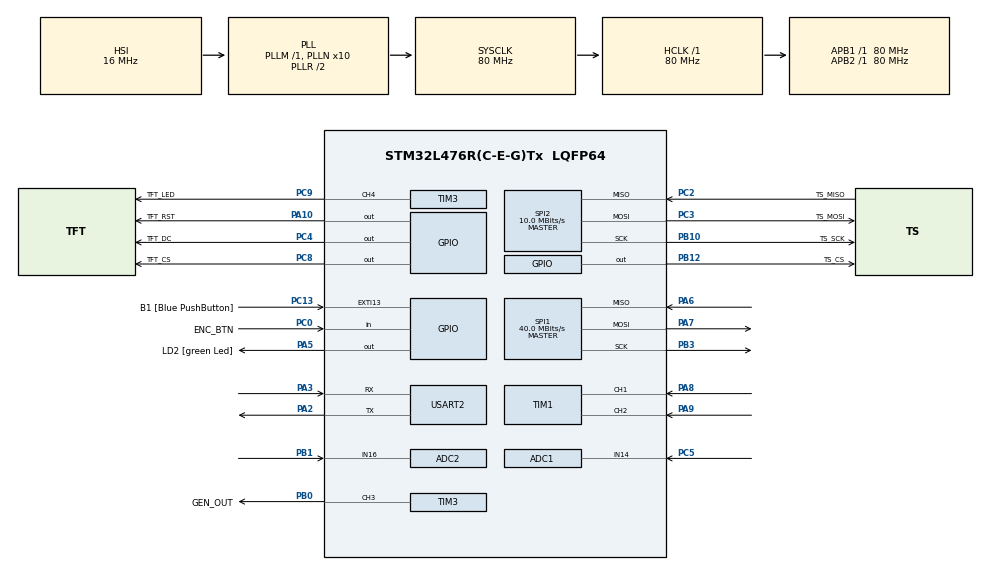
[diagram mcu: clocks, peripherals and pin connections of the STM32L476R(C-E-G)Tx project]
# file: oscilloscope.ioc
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ADC1.Channel-3\#ChannelRegularConversion=ADC_CHANNEL_14
ADC1.ClockPrescaler=ADC_CLOCK_ASYNC_DIV4
ADC1.ContinuousConvMode=ENABLE
ADC1.DMAContinuousRequests=ENABLE
ADC1.NbrOfConversion=1
ADC1.NbrOfConversionFlag=1
ADC1.OffsetNumber-3\#ChannelRegularConversion=ADC_OFFSET_NONE
ADC1.Rank-3\#ChannelRegularConversion=1
ADC1.SamplingTime-3\#ChannelRegularConversion=ADC_SAMPLETIME_6CYCLES_5
ADC1.master=1
ADC2.Channel-0\#ChannelRegularConversion=ADC_CHANNEL_16
ADC2.ClockPrescaler=ADC_CLOCK_ASYNC_DIV4
ADC2.ContinuousConvMode=ENABLE
ADC2.DMAContinuousRequests=ENABLE
ADC2.NbrOfConversionFlag=1
ADC2.OffsetNumber-0\#ChannelRegularConversion=ADC_OFFSET_NONE
ADC2.Rank-0\#ChannelRegularConversion=1
ADC2.SamplingTime-0\#ChannelRegularConversion=ADC_SAMPLETIME_6CYCLES_5
COMP1.Hysteresis=COMP_HYSTERESIS_LOW
COMP1.TriggerMode=COMP_TRIGGERMODE_IT_RISING
Dma.ADC1.1.Direction=DMA_PERIPH_TO_MEMORY
Dma.ADC1.1.Instance=DMA1_Channel1
Dma.ADC1.1.MemDataAlignment=DMA_MDATAALIGN_HALFWORD
Dma.ADC1.1.MemInc=DMA_MINC_ENABLE
Dma.ADC1.1.Mode=DMA_NORMAL
Dma.ADC1.1.PeriphDataAlignment=DMA_PDATAALIGN_HALFWORD
Dma.ADC1.1.PeriphInc=DMA_PINC_DISABLE
Dma.ADC1.1.Priority=DMA_PRIORITY_LOW
Dma.ADC2.2.Direction=DMA_PERIPH_TO_MEMORY
Dma.ADC2.2.Instance=DMA1_Channel2
Dma.ADC2.2.MemDataAlignment=DMA_MDATAALIGN_HALFWORD
Dma.ADC2.2.MemInc=DMA_MINC_ENABLE
Dma.ADC2.2.Mode=DMA_NORMAL
Dma.ADC2.2.PeriphDataAlignment=DMA_PDATAALIGN_HALFWORD
Dma.ADC2.2.PeriphInc=DMA_PINC_DISABLE
Dma.ADC2.2.Priority=DMA_PRIORITY_LOW
Dma.Request0=SPI1_TX
Dma.Request1=ADC1
Dma.Request2=ADC2
Dma.SPI1_TX.0.Direction=DMA_MEMORY_TO_PERIPH
Dma.SPI1_TX.0.Instance=DMA1_Channel3
Dma.SPI1_TX.0.MemDataAlignment=DMA_MDATAALIGN_BYTE
Dma.SPI1_TX.0.MemInc=DMA_MINC_ENABLE
Dma.SPI1_TX.0.Mode=DMA_NORMAL
Dma.SPI1_TX.0.PeriphDataAlignment=DMA_PDATAALIGN_BYTE
Dma.SPI1_TX.0.PeriphInc=DMA_PINC_DISABLE
Dma.SPI1_TX.0.Priority=DMA_PRIORITY_LOW
Mcu.Family=STM32L4
Mcu.Name=STM32L476R(C-E-G)Tx
Mcu.Package=LQFP64
NVIC.COMP_IRQn=true\:0\:0\:false\:false\:true\:false\:true
NVIC.DMA1_Channel1_IRQn=true\:0\:0\:false\:false\:true\:false\:true
NVIC.DMA1_Channel2_IRQn=true\:0\:0\:false\:false\:true\:false\:true
NVIC.DMA1_Channel3_IRQn=true\:0\:0\:false\:false\:true\:false\:true
NVIC.PriorityGroup=NVIC_PRIORITYGROUP_4
NVIC.SPI1_IRQn=true\:0\:0\:false\:false\:true\:true\:true
NVIC.TIM4_IRQn=true\:0\:0\:false\:false\:true\:true\:true
PA10.GPIO_Label=TFT_RST
PA10.GPIO_Speed=GPIO_SPEED_FREQ_VERY_HIGH
PA10.Signal=GPIO_Output
PA2.Mode=Asynchronous
PA2.Signal=USART2_TX
PA3.Mode=Asynchronous
PA3.Signal=USART2_RX
PA5.GPIO_Label=LD2 [green Led]
PA5.GPIO_ModeDefaultOutputPP=GPIO_MODE_OUTPUT_PP
PA5.GPIO_PuPd=GPIO_NOPULL
PA5.GPIO_Speed=GPIO_SPEED_FREQ_LOW
PA5.Signal=GPIO_Output
PA6.Mode=Full_Duplex_Master
PA6.Signal=SPI1_MISO
PA7.Mode=Full_Duplex_Master
PA7.Signal=SPI1_MOSI
PA8.GPIO_PuPd=GPIO_PULLUP
PA8.Signal=S_TIM1_CH1
PA9.GPIO_PuPd=GPIO_PULLUP
PA9.Signal=S_TIM1_CH2
PB0.GPIO_Label=GEN_OUT
PB0.Signal=S_TIM3_CH3
PB1.Signal=ADCx_IN16
PB10.GPIO_Label=TS_SCK
PB10.Mode=Full_Duplex_Master
PB10.Signal=SPI2_SCK
PB12.GPIO_Label=TS_CS
PB12.GPIO_Speed=GPIO_SPEED_FREQ_VERY_HIGH
PB12.Signal=GPIO_Output
PB3\ (JTDO-TRACESWO).Mode=Full_Duplex_Master
PB3\ (JTDO-TRACESWO).Signal=SPI1_SCK
PC0.GPIO_Label=ENC_BTN
PC0.GPIO_PuPd=GPIO_PULLUP
PC0.Signal=GPIO_Input
PC13.GPIO_Label=B1 [Blue PushButton]
PC13.GPIO_ModeDefaultEXTI=GPIO_MODE_IT_FALLING
PC13.GPIO_PuPd=GPIO_NOPULL
PC13.Signal=GPXTI13
PC2.GPIO_Label=TS_MISO
PC2.Mode=Full_Duplex_Master
PC2.Signal=SPI2_MISO
PC3.GPIO_Label=TS_MOSI
PC3.Mode=Full_Duplex_Master
PC3.Signal=SPI2_MOSI
PC4.GPIO_Label=TFT_DC
PC4.GPIO_Speed=GPIO_SPEED_FREQ_VERY_HIGH
PC4.Signal=GPIO_Output
PC5.Signal=SharedAnalog_PC5
PC8.GPIO_Label=TFT_CS
PC8.GPIO_Speed=GPIO_SPEED_FREQ_VERY_HIGH
PC8.Signal=GPIO_Output
PC9.GPIO_Label=TFT_LED
PC9.Signal=S_TIM3_CH4
ProjectManager.HeapSize=0x200
ProjectManager.StackSize=0x400
ProjectManager.TargetToolchain=STM32CubeIDE
RCC.ADCCLockSelection=RCC_ADCCLKSOURCE_SYSCLK
RCC.ADCFreq_Value=80000000
RCC.AHBFreq_Value=80000000
RCC.APB1Freq_Value=80000000
RCC.APB1TimFreq_Value=80000000
RCC.APB2Freq_Value=80000000
RCC.APB2TimFreq_Value=80000000
RCC.CortexFreq_Value=80000000
RCC.HCLKFreq_Value=80000000
RCC.HSE_VALUE=8000000
RCC.HSI_VALUE=16000000
RCC.LSE_VALUE=32768
RCC.MSI_VALUE=4000000
RCC.PLLN=10
RCC.PLLSourceVirtual=RCC_PLLSOURCE_HSI
RCC.PREFETCH_ENABLE=1
RCC.SYSCLKFreq_VALUE=80000000
RCC.SYSCLKSource=RCC_SYSCLKSOURCE_PLLCLK
RCC.USBFreq_Value=64000000
RCC.VCOOutputFreq_Value=160000000
SH.ADCx_IN16.0=ADC2_IN16,IN16-Single-Ended
SH.S_TIM1_CH1.0=TIM1_CH1,Encoder_Interface
SH.S_TIM1_CH2.0=TIM1_CH2,Encoder_Interface
SH.S_TIM3_CH3.0=TIM3_CH3,PWM Generation3 CH3
SH.S_TIM3_CH4.0=TIM3_CH4,PWM Generation4 CH4
SH.SharedAnalog_PC5.0=ADC1_IN14,IN14-Single-Ended
SH.SharedAnalog_PC5.1=COMP1_INP,INP
SPI1.BaudRatePrescaler=SPI_BAUDRATEPRESCALER_2
SPI1.CalculateBaudRate=40.0 MBits/s
SPI1.DataSize=SPI_DATASIZE_8BIT
SPI1.Direction=SPI_DIRECTION_2LINES
SPI1.Mode=SPI_MODE_MASTER
SPI1.VirtualType=VM_MASTER
SPI2.BaudRatePrescaler=SPI_BAUDRATEPRESCALER_8
SPI2.CalculateBaudRate=10.0 MBits/s
SPI2.DataSize=SPI_DATASIZE_8BIT
SPI2.Direction=SPI_DIRECTION_2LINES
SPI2.Mode=SPI_MODE_MASTER
SPI2.VirtualType=VM_MASTER
TIM1.EncoderMode=TIM_ENCODERMODE_TI1
TIM3.AutoReloadPreload=TIM_AUTORELOAD_PRELOAD_ENABLE
TIM3.Channel-PWM\ Generation3\ CH3=TIM_CHANNEL_3
TIM3.Channel-PWM\ Generation4\ CH4=TIM_CHANNEL_4
TIM3.Period=999
TIM3.Prescaler=79
TIM4.Channel-Output\ Compare1\ No\ Output=TIM_CHANNEL_1
TIM4.Period=9999
TIM4.Prescaler=7999
TIM4.TIM_MasterOutputTrigger=TIM_TRGO_UPDATE
USART2.VirtualMode-Asynchronous=VM_ASYNC
VP_COMP1_VS_DACOUT1.Mode=INM_DACOUT1
VP_DAC1_VS_DACI1.Mode=DAC_OUT1_Int
VP_TIM4_VS_no_output1.Mode=Output Compare1 No Output
board=NUCLEO-L476RG

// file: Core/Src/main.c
/* USER CODE BEGIN Header */
/**
  ******************************************************************************
  * @file           : main.c
  * @brief          : Main program body
  ******************************************************************************
  * @attention
  *
  * <h2><center>&copy; Copyright (c) 2024 STMicroelectronics.
  * All rights reserved.</center></h2>
  *
  * This software component is licensed by ST under BSD 3-Clause license,
  * the "License"; You may not use this file except in compliance with the
  * License. You may obtain a copy of the License at:
  *                        opensource.org/licenses/BSD-3-Clause
  *
  ******************************************************************************
  */
/* USER CODE END Header */
#include "main.h"
#include "adc.h"
#include "comp.h"
#include "dac.h"
#include "dma.h"
#include "spi.h"
#include "tim.h"
#include "usart.h"
#include "gpio.h"

/* USER CODE BEGIN Includes */
#include <stdio.h>
#include "oscilloscope.h"

/* USER CODE END Includes */

/* USER CODE BEGIN PD */
#define DAC_VREF 3.3
#define DAC_RESOLUTION 4096

/* USER CODE END PD */

/* USER CODE BEGIN PV */
volatile uint8_t SPI1_TX_completed_flag = 1;
static int conv_done = 0;
int ready_to_draw = 0;
volatile int done_drawing = 1;
volatile uint8_t comparatorTriggeredFlag;
Oscilloscope oscilloscope;

/* USER CODE END PV */

void SystemClock_Config(void);

/* USER CODE BEGIN 0 */
void HAL_SPI_TxCpltCallback(SPI_HandleTypeDef *hspi){
	SPI1_TX_completed_flag = 1;
}

void HAL_COMP_TriggerCallback(COMP_HandleTypeDef *hcomp){
	comparatorTriggeredFlag = 1;
	if(conv_done & done_drawing){
		conv_done = 0;
		HAL_ADC_Start_DMA(&hadc1, (uint32_t*) oscilloscope.ch1.waveform_raw_adc , MEMORY_DEPTH);
		HAL_ADC_Start_DMA(&hadc2, (uint32_t*) oscilloscope.ch2.waveform_raw_adc , MEMORY_DEPTH);
		ready_to_draw = 1;
		done_drawing = 0;
	}
	//HAL_COMP_Stop(&hcomp1);
}

/**
 * @brief function for printing using UART
 */
int _write(int file, char* ptr, int len){
	HAL_UART_Transmit(&huart2, (uint8_t *)ptr, len, HAL_MAX_DELAY);
	return len;
}

/**
 * @brief convert voltage to DAC value
 */
int conv_voltage_to_DAC(float voltage){
	int dac = voltage*DAC_RESOLUTION/DAC_VREF;
	if(dac > DAC_RESOLUTION){
		dac = DAC_RESOLUTION;
	}
	return (int) dac;
}

void HAL_TIM_PeriodElapsedCallback(TIM_HandleTypeDef *htim){
	if(htim == &htim4){
		if(!comparatorTriggeredFlag && !oscilloscope.stop){
			HAL_ADC_Start_DMA(&hadc1, (uint32_t*) oscilloscope.ch1.waveform_raw_adc , MEMORY_DEPTH);
			HAL_ADC_Start_DMA(&hadc2, (uint32_t*) oscilloscope.ch2.waveform_raw_adc , MEMORY_DEPTH);

			done_drawing = 0;
		}
	}
}
/* USER CODE END 0 */

int main(void)
{

  /* MCU Configuration--------------------------------------------------------*/

  /* Reset of all peripherals, Initializes the Flash interface and the Systick. */
  HAL_Init();

  /* Configure the system clock */
  SystemClock_Config();

  /* Initialize all configured peripherals */
  MX_GPIO_Init();
  MX_DMA_Init();
  MX_SPI1_Init();
  MX_SPI2_Init();
  MX_TIM3_Init();
  MX_ADC1_Init();
  MX_TIM1_Init();
  MX_USART2_UART_Init();
  MX_DAC1_Init();
  MX_COMP1_Init();
  MX_ADC2_Init();
  MX_TIM4_Init();
  /* USER CODE BEGIN 2 */

  HAL_TIM_Base_Start_IT(&htim4);
  HAL_DAC_Start(&hdac1, DAC_CHANNEL_1);
  HAL_COMP_Start(&hcomp1);
  //HAL_COMP_Stop(&hcomp1);
  HAL_ADC_Start_DMA(&hadc1, (uint32_t*) oscilloscope.ch1.waveform_raw_adc , MEMORY_DEPTH);
  HAL_ADC_Start_DMA(&hadc2, (uint32_t*) oscilloscope.ch2.waveform_raw_adc , MEMORY_DEPTH);
  HAL_TIM_Encoder_Start(&htim1, TIM_CHANNEL_ALL);
  HAL_TIM_PWM_Start(&htim3, TIM_CHANNEL_4);
  HAL_TIM_PWM_Start(&htim3, TIM_CHANNEL_3);
  __HAL_TIM_SET_COMPARE(&htim3, TIM_CHANNEL_4, LCD_BRIGHTNESS); // 0-1000
  __HAL_TIM_SET_COMPARE(&htim3, TIM_CHANNEL_3, 200); // 0-1000
  ILI9488_Init();
  setRotation(1);
  ILI9341_Fill_Screen(ILI9488_BLACK);

  oscilloscopeInit(&oscilloscope);

  /* USER CODE END 2 */

  /* Infinite loop */
  /* USER CODE BEGIN WHILE */

  while (1){
	  clearScreen();
	  drawGrid();

	  //__HAL_DMA_GET_COUNTER()
	  displayTimeBase(&oscilloscope);
	  drawMainMenuButton();
	  displayHorizontallOffset(&oscilloscope);

	  switch (oscilloscope.timeBase_us){
	  case 10:
		  hadc1.Init.ClockPrescaler = ADC_CLOCK_ASYNC_DIV1;
		  break;
	  case 20:
		  hadc1.Init.ClockPrescaler = ADC_CLOCK_ASYNC_DIV2;
		  break;
	  case 40:
		  hadc1.Init.ClockPrescaler = ADC_CLOCK_ASYNC_DIV4;
		  break;
	  case 80:
		  hadc1.Init.ClockPrescaler = ADC_CLOCK_ASYNC_DIV8;
		  break;
	  case 160:
		  hadc1.Init.ClockPrescaler = ADC_CLOCK_ASYNC_DIV16;
		  break;
	  case 320:
		  hadc1.Init.ClockPrescaler = ADC_CLOCK_ASYNC_DIV32;
		  break;
	  case 640:
		  hadc1.Init.ClockPrescaler = ADC_CLOCK_ASYNC_DIV64;
		  break;
	  case 1280:
		  hadc1.Init.ClockPrescaler = ADC_CLOCK_ASYNC_DIV128;
		  break;
	  case 2560:
		  hadc1.Init.ClockPrescaler = ADC_CLOCK_ASYNC_DIV256;
		  break;
	  }
	  // Initialize the ADC with the configured settings
	  if (HAL_ADC_Init(&hadc1) != HAL_OK){
		  // Initialization Error
		  Error_Handler();
	  }

	  if(oscilloscope.stop){
		  HAL_COMP_Stop(&hcomp1);
	  }else{
		  HAL_COMP_Start(&hcomp1);
	  }
	  drawChannels0Vmarkers(&oscilloscope.ch1);
	  drawChannels0Vmarkers(&oscilloscope.ch2);

	  if(ready_to_draw){
		  if(oscilloscope.ch1.isOn)
			  draw_waveform(& oscilloscope.ch1, oscilloscope.timeBase_us, oscilloscope.x_offset, oscilloscope.stop);
		  if(oscilloscope.ch2.isOn)
			  draw_waveform(& oscilloscope.ch2, oscilloscope.timeBase_us, oscilloscope.x_offset, oscilloscope.stop);
		  ready_to_draw = 0;
		  done_drawing = 1;
		  comparatorTriggeredFlag = 0;
	  }

	  else if(oscilloscope.stop || !comparatorTriggeredFlag){
		  if(oscilloscope.ch1.isOn)
			  draw_waveform(& oscilloscope.ch1, oscilloscope.timeBase_us, oscilloscope.x_offset, oscilloscope.stop);
		  if(oscilloscope.ch2.isOn)
			  draw_waveform(& oscilloscope.ch2, oscilloscope.timeBase_us, oscilloscope.x_offset, oscilloscope.stop);
	  }

	  serveTouchScreen(&oscilloscope);
	  serveEncoder(&oscilloscope);

	  drawChanellVperDev(0, & oscilloscope.ch1);
	  drawChanellVperDev(110, & oscilloscope.ch2);
	  uint32_t sampling_frequency = 4210526/(oscilloscope.timeBase_us/10);
	  if(oscilloscope.ch1.isOn){
		  calculateFFT(&oscilloscope.ch1, sampling_frequency);
	  }
	  if(oscilloscope.ch2.isOn){
		  calculateFFT(&oscilloscope.ch2, sampling_frequency);
	  }
	  drawMeasurements(&oscilloscope);
	  drawRunStop(&oscilloscope);
	  drawTriggerIcon(&oscilloscope);
	  HAL_DAC_SetValue(&hdac1, DAC_CHANNEL_1, DAC_ALIGN_12B_R, conv_voltage_to_DAC(oscilloscope.triggerLevel_mV/1000.0));

	  imageRender();

/*
	  //ILI9341_Fill_Screen(ILI9488_BLACK);
	  //drawImage(image, 10, 10, 200, 1);
	  if(conv_done){
		  conv_done = 0;
		  draw_waveform(& CH1);
		  //HAL_Delay(500);
		  sprintf(buf1,"Vpp=%d", calculate_peak_to_peak(CH1.waveform_display));
		  fillRect(39, 1, 35, 18, RED);
		  LCD_Font(5, 15, buf1, _Open_Sans_Bold_12  , 1, WHITE);
		  HAL_ADC_Start_DMA(&hadc1, (uint32_t*) CH1.waveform, MEMORY_DEPTH);
		  //HAL_Delay(1);
	  }
	  */

    /* USER CODE END WHILE */

  }
}

void SystemClock_Config(void)
{
  RCC_OscInitTypeDef RCC_OscInitStruct = {0};
  RCC_ClkInitTypeDef RCC_ClkInitStruct = {0};
  RCC_PeriphCLKInitTypeDef PeriphClkInit = {0};

  /** Initializes the RCC Oscillators according to the specified parameters
  * in the RCC_OscInitTypeDef structure.
  */
  RCC_OscInitStruct.OscillatorType = RCC_OSCILLATORTYPE_HSI;
  RCC_OscInitStruct.HSIState = RCC_HSI_ON;
  RCC_OscInitStruct.HSICalibrationValue = RCC_HSICALIBRATION_DEFAULT;
  RCC_OscInitStruct.PLL.PLLState = RCC_PLL_ON;
  RCC_OscInitStruct.PLL.PLLSource = RCC_PLLSOURCE_HSI;
  RCC_OscInitStruct.PLL.PLLM = 1;
  RCC_OscInitStruct.PLL.PLLN = 10;
  RCC_OscInitStruct.PLL.PLLP = RCC_PLLP_DIV7;
  RCC_OscInitStruct.PLL.PLLQ = RCC_PLLQ_DIV2;
  RCC_OscInitStruct.PLL.PLLR = RCC_PLLR_DIV2;
  if (HAL_RCC_OscConfig(&RCC_OscInitStruct) != HAL_OK)
  {
    Error_Handler();
  }
  /** Initializes the CPU, AHB and APB buses clocks
  */
  RCC_ClkInitStruct.ClockType = RCC_CLOCKTYPE_HCLK|RCC_CLOCKTYPE_SYSCLK
                              |RCC_CLOCKTYPE_PCLK1|RCC_CLOCKTYPE_PCLK2;
  RCC_ClkInitStruct.SYSCLKSource = RCC_SYSCLKSOURCE_PLLCLK;
  RCC_ClkInitStruct.AHBCLKDivider = RCC_SYSCLK_DIV1;
  RCC_ClkInitStruct.APB1CLKDivider = RCC_HCLK_DIV1;
  RCC_ClkInitStruct.APB2CLKDivider = RCC_HCLK_DIV1;

  if (HAL_RCC_ClockConfig(&RCC_ClkInitStruct, FLASH_LATENCY_4) != HAL_OK)
  {
    Error_Handler();
  }
  PeriphClkInit.PeriphClockSelection = RCC_PERIPHCLK_USART2|RCC_PERIPHCLK_ADC;
  PeriphClkInit.Usart2ClockSelection = RCC_USART2CLKSOURCE_PCLK1;
  PeriphClkInit.AdcClockSelection = RCC_ADCCLKSOURCE_SYSCLK;
  if (HAL_RCCEx_PeriphCLKConfig(&PeriphClkInit) != HAL_OK)
  {
    Error_Handler();
  }
  /** Configure the main internal regulator output voltage
  */
  if (HAL_PWREx_ControlVoltageScaling(PWR_REGULATOR_VOLTAGE_SCALE1) != HAL_OK)
  {
    Error_Handler();
  }
}

/* USER CODE BEGIN 4 */
void HAL_ADC_ConvCpltCallback(ADC_HandleTypeDef* hadc){
	conv_done = 1;
	HAL_ADC_Stop_DMA(hadc);
	ready_to_draw = 1;
	//HAL_COMP_Start(&hcomp1);
}
/* USER CODE END 4 */

void Error_Handler(void)
{
}

/************************ (C) COPYRIGHT STMicroelectronics *****END OF FILE****/
